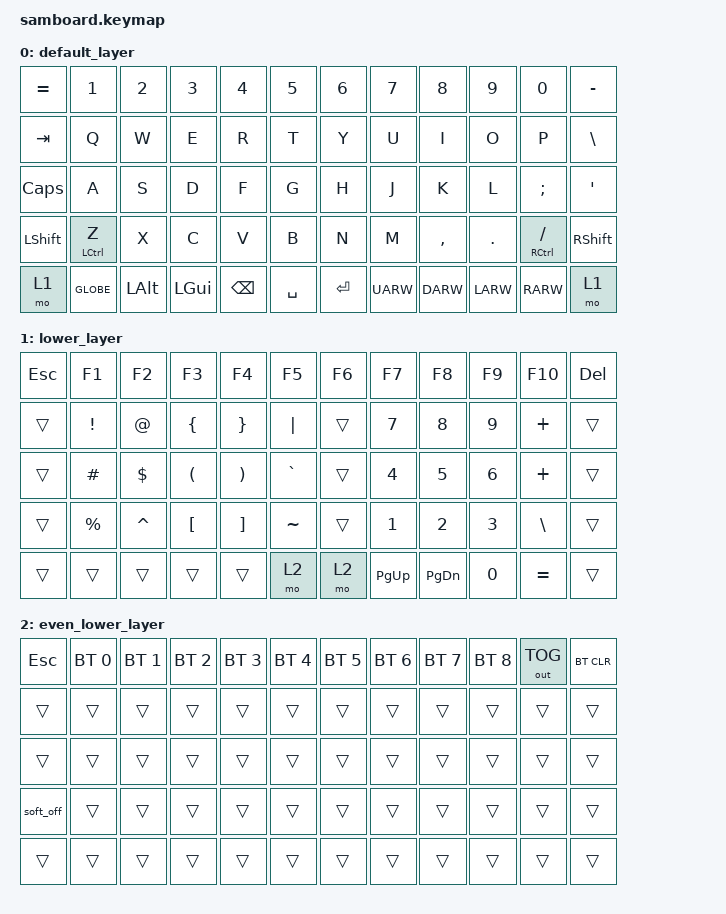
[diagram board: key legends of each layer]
#include <behaviors.dtsi>
#include <dt-bindings/zmk/keys.h>
#include <dt-bindings/zmk/bt.h>
#include <dt-bindings/zmk/outputs.h>
/ {
    keymap {
        compatible = "zmk,keymap";

        default_layer {

            bindings = <
                &kp EQUAL    &kp N1       &kp N2       &kp N3       &kp N4       &kp N5           &kp N6       &kp N7       &kp N8       &kp N9       &kp N0       &kp MINUS
                &kp TAB      &kp Q        &kp W        &kp E        &kp R        &kp T            &kp Y        &kp U        &kp I        &kp O        &kp P        &kp BSLH
                &kp CAPS     &kp A        &kp S        &kp D        &kp F        &kp G            &kp H        &kp J        &kp K        &kp L        &kp SEMI     &kp APOS
                &kp LSHFT    &mt LCTRL Z  &kp X        &kp C        &kp V        &kp B            &kp N        &kp M        &kp COMMA    &kp DOT      &mt RCTRL FSLH &kp RSHIFT
                &mo 1        &kp GLOBE    &kp LALT     &kp LGUI     &kp BSPC     &kp SPC          &kp RET      &kp UARW	    &kp DARW     &kp LARW     &kp RARW     &mo 1
	    >;
        };

        lower_layer {
            bindings = <
                &kp ESC  &kp F1        &kp F2         &kp F3         &kp F4         &kp F5                &kp F6       &kp F7        &kp F8       &kp F9       &kp F10      &kp DEL
                &trans   &kp EXCL      &kp AT         &kp LBRC       &kp RBRC       &kp PIPE              &trans       &kp N7        &kp N8       &kp N9       &kp PLUS     &trans
                &trans   &kp HASH      &kp DLLR       &kp LPAR       &kp RPAR       &kp GRAVE             &trans       &kp N4        &kp N5       &kp N6       &kp PLUS     &trans
                &trans   &kp PRCNT     &kp CARET      &kp LBKT       &kp RBKT       &kp TILDE             &trans       &kp N1        &kp N2       &kp N3       &kp BSLH     &trans
                &trans   &trans        &trans         &trans         &trans         &mo 2                 &mo 2        &kp PG_UP     &kp PG_DN    &kp N0       &kp EQUAL    &trans
            >;
        };

	even_lower_layer {
        bindings = <
                &kp ESC  &bt BT_SEL 0  &bt BT_SEL 1   &bt BT_SEL 2   &bt BT_SEL 3   &bt BT_SEL 4          &bt BT_SEL 5 &bt BT_SEL 6  &bt BT_SEL 7 &bt BT_SEL 8 &out OUT_TOG &bt BT_CLR
                &trans   &trans        &trans         &trans         &trans         &trans    	          &trans      &trans        &trans        &trans       &trans       &trans
                &trans   &trans        &trans         &trans         &trans         &trans    	          &trans      &trans        &trans        &trans       &trans       &trans
                &soft_off   &trans     &trans         &trans         &trans         &trans    	          &trans      &trans        &trans        &trans       &trans       &trans
                &trans   &trans        &trans         &trans         &trans         &trans    	          &trans      &trans        &trans        &trans       &trans       &trans
        	>;
	};
    };
};
